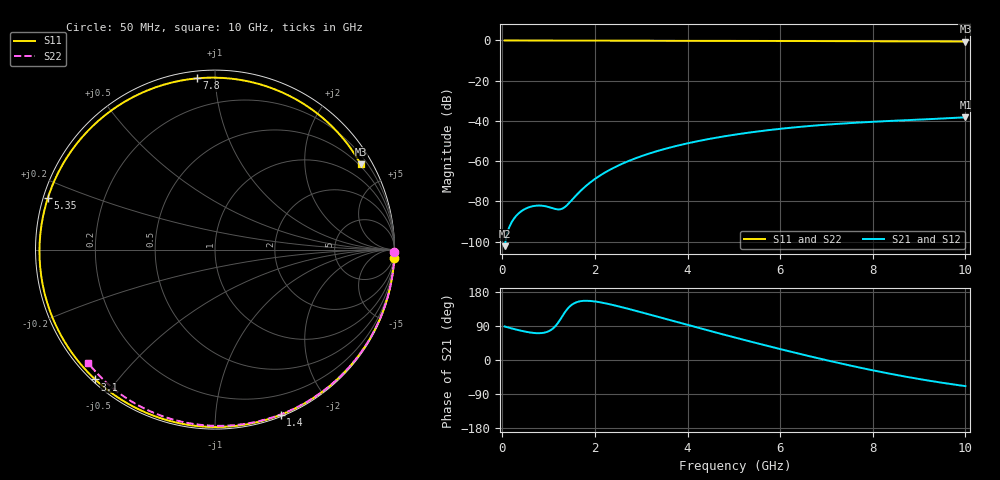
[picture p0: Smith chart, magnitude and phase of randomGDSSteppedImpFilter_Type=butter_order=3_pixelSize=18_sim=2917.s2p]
! freq	dB(S11)	phase(S11)	dB(S12)	phase(S12)
!  dB(S21)	phase(S21)	dB(S22)	phase(S22)
!S-par simulation data
#  GHz  S  DB  R 50
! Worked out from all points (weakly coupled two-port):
!   200 points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, 50 MHz to 10 GHz, reference 50 ohm
!   highest |S21| = -38.20 dB at 10 GHz (marker M1); lowest = -102.3 dB at 50 MHz (marker M2)
!   lowest |S11| = -0.5 dB at 10 GHz (marker M3), VSWR 32.63, Z = 22.1 + j182 ohm
!   |S11| at or under -10 dB: nowhere
!   |S22| runs from -0.5 to 0.0 dB; largest |S21 - S12| = 0
!   S11 on the Smith chart (normalised r, x): 50 MHz: 0, -44; 1.4 GHz: 0.02, -1.47; 3.1 GHz: 0.01, -0.44; 5.35 GHz: 0.01, +0.15; 7.8 GHz: 0.04, +0.90; 10 GHz: 0.44, +3.64
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0.05  -0.00 -2.6  -102.28 88.5  -102.28 88.5  -0.00 -0.8
0.35  -0.02 -18.0  -86.03 78.8  -86.03 78.8  -0.01 -5.6
0.65  -0.04 -33.0  -82.44 71.8  -82.44 71.8  -0.01 -10.3
1.05  -0.07 -52.3  -83.15 79.1  -83.15 79.1  -0.02 -16.7
1.4  -0.08 -68.3  -81.85 133.9  -81.85 133.9  -0.03 -22.2
1.5  -0.09 -72.7  -79.41 145.8  -79.41 145.8  -0.03 -23.7
1.75  -0.10 -83.3  -73.49 156.1  -73.49 156.1  -0.04 -27.6
2  -0.10 -93.5  -68.87 154.5  -68.87 154.5  -0.04 -31.5
2.3  -0.11 -105.0  -64.59 147.7  -64.59 147.7  -0.05 -36.1
2.65  -0.12 -117.6  -60.68 137.3  -60.68 137.3  -0.05 -41.4
3.1  -0.14 -132.7  -56.77 122.6  -56.77 122.6  -0.06 -48.1
3.4  -0.15 -142.2  -54.63 112.6  -54.63 112.6  -0.07 -52.5
4.2  -0.17 -165.8  -50.17 86.0  -50.17 86.0  -0.09 -64.1
5.05  -0.21 170.8  -46.73 58.4  -46.73 58.4  -0.12 -75.9
5.35  -0.22 162.8  -45.75 49.0  -45.75 49.0  -0.13 -80.0
6  -0.25 145.4  -43.94 28.9  -43.94 28.9  -0.15 -88.7
6.7  -0.29 126.6  -42.40 8.1  -42.40 8.1  -0.19 -97.8
7.25  -0.33 111.5  -41.45 -7.5  -41.45 -7.5  -0.22 -104.8
7.8  -0.36 96.0  -40.68 -22.2  -40.68 -22.2  -0.26 -111.6
8.35  -0.39 80.1  -40.04 -35.7  -40.04 -35.7  -0.30 -118.4
9.15  -0.45 56.2  -39.19 -53.3  -39.19 -53.3  -0.38 -128.1
10  -0.53 30.3  -38.20 -68.9  -38.20 -68.9  -0.47 -138.3
